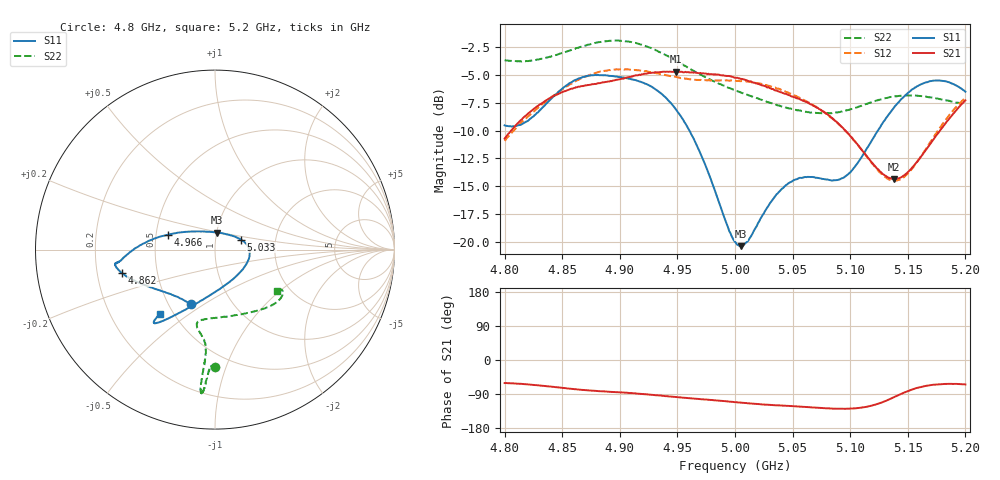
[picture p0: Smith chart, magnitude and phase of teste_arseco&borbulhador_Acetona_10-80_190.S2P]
! Network Analyzer HP8722D
! Hewlett-Packard
! Data name: Linha & Wilkinson
! Saver's name: Rodrigo Anjos
! Comments: Teste da utilização de aquisição
! continua pelo VNA HP8722D
! Time and date: 17/4/2025 15:56
!  Frequency  S11  S21  S12  S22
# HZ  S  MA R 50
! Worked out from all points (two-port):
!   401 points, 4.8 GHz to 5.2 GHz, reference 50 ohm
!   highest |S21| = -4.69 dB at 4.949 GHz (marker M1); lowest = -14.4 dB at 5.138 GHz (marker M2)
!   |S21| within 3 dB of the highest: 4.83 GHz to 5.067 GHz (236.9 MHz wide, 4.79 % of centre); 5.196126 GHz to end of sweep
!   lowest |S11| = -20.4 dB at 5.005 GHz (marker M3), VSWR 1.21, Z = 50.3 + j9.61 ohm
!   |S11| at or under -10 dB: 4.96 GHz to 5.124 GHz (163.6 MHz wide, 3.24 % of centre)
!   |S22| runs from -8.5 to -1.9 dB; largest |S21 - S12| = 0.87
!   S11 on the Smith chart (normalised r, x): 4.8 GHz: 0.64, -0.44; 4.862 GHz: 0.31, -0.11; 4.966 GHz: 0.57, +0.10; 5.033 GHz: 1.33, +0.15; 5.2 GHz: 0.42, -0.39
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4.8e9  0.3338 -113.6  0.2909 -60.9  0.2843 -175.0  0.6556 -90.0
4.819e9  0.3475 -133.5  0.3713 -64.1  0.3602 -173.7  0.6504 -91.6
4.862e9  0.5357 -166.0  0.4954 -76.9  0.5294 -177.0  0.7429 -94.0
4.867e9  0.5479 -167.9  0.5018 -78.8  0.5452 -178.0  0.7559 -94.1
4.899e9  0.5508 -172.4  0.5369 -85.2  0.5952 175.4  0.8031 -95.5
4.934e9  0.4726 -178.3  0.5783 -93.6  0.5714 171.8  0.7149 -95.9
4.949e9  0.3918 174.5  0.583 -97.9  0.5515 172.1  0.6516 -95.5
4.966e9  0.2771 162.7  0.576 -102.1  0.5352 173.7  0.5789 -95.0
5e9  0.09993 100.5  0.5472 -111.3  0.5315 176.1  0.4793 -99.2
5.005e9  0.09541 82.8  0.5403 -112.5  0.5276 176.1  0.4692 -100.2
5.012e9  0.102 59.6  0.5269 -114.3  0.5248 175.8  0.4562 -101.8
5.033e9  0.1552 20.9  0.4869 -119.0  0.4961 174.7  0.4173 -103.5
5.049e9  0.186 4.5  0.4503 -121.6  0.4623 174.1  0.3963 -99.9
5.067e9  0.1956 -14.6  0.4129 -125.1  0.4152 173.6  0.3818 -90.5
5.086e9  0.1888 -44.7  0.3535 -128.5  0.3531 173.6  0.3806 -76.1
5.098e9  0.2007 -69.3  0.3075 -128.5  0.3074 174.6  0.3909 -66.3
5.134e9  0.3775 -116.8  0.1935 -103.8  0.1902 -156.7  0.4466 -43.0
5.138e9  0.4021 -119.1  0.1913 -98.1  0.188 -150.3  0.4496 -41.2
5.151e9  0.4709 -124.8  0.2077 -80.9  0.2053 -130.5  0.4554 -36.5
5.17e9  0.5279 -129.1  0.2778 -66.2  0.2826 -112.4  0.4462 -32.0
5.184e9  0.5249 -130.3  0.3483 -63.0  0.3599 -107.3  0.4323 -31.1
5.2e9  0.4733 -130.7  0.4325 -64.6  0.4444 -106.5  0.4154 -33.4
